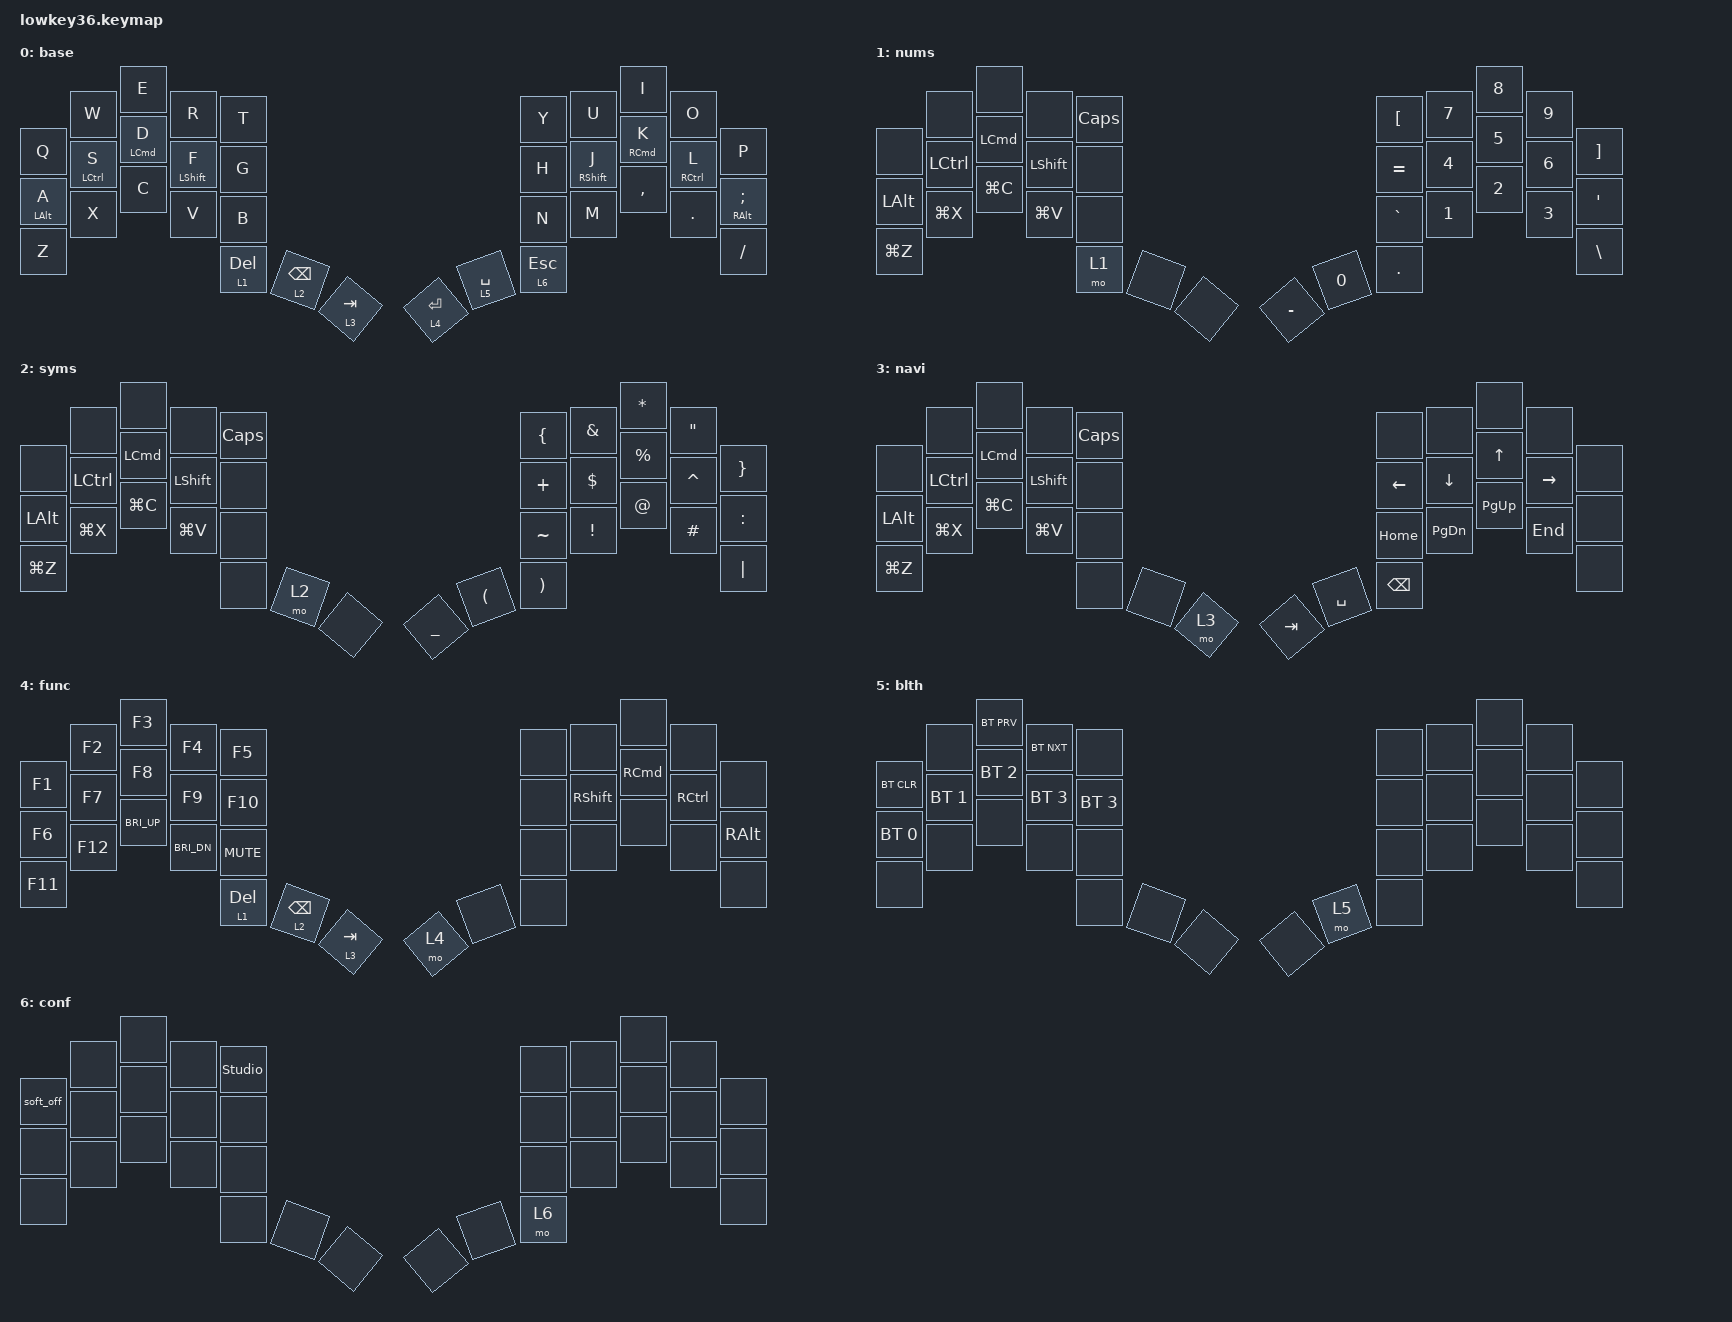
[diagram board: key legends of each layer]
/* Copyright (c) 2024 Matt Gilbert
 *
 * SPDX-License-Identifier: MIT
 */

#include <behaviors.dtsi>
#include <dt-bindings/zmk/keys.h>
#include <dt-bindings/zmk/bt.h>

// Using layer taps on thumbs, having quick tap as well helps w/ repeating space/backspace
&lt { quick-tap-ms = <200>; };

// Only turn off if the key is held for 2 seconds or longer
&soft_off { hold-time-ms = <2000>; };

// ---------------------                    ---------------------
// | Q | W | E | R | T |                    | Y | U | I | O | P |
// | A | S | D | F | G |                    | H | J | K | L | ; | <-- home row
// | Z | X | C | V | B |--------    --------| N | M | , | . | / |
// ----------------| 1 | 2 | 3 |    | 4 | 5 | 6 |---------------- <-- thumbs

/ {
    keymap {
        compatible = "zmk,keymap";

        default_layer { // Layer 0
            display-name = "base";
            bindings = <
                &kp Q      &kp W       &kp E      &kp R       &kp T                                                   &kp Y &kp U       &kp I      &kp O       &kp P
                &mt LALT A &mt LCTRL S &mt LCMD D &mt LSHFT F &kp G                                                   &kp H &mt RSHFT J &mt RCMD K &mt RCTRL L &mt RALT SEMI
                &kp Z      &kp X       &kp C      &kp V       &kp B                                                   &kp N &kp M       &kp COMMA  &kp DOT     &kp FSLH
                                                              &lt 1 DEL &lt 2 BSPC &lt 3 TAB    &lt 4 RET &lt 5 SPACE &lt 6 ESC
            >;
        };

        number_layer { // Layer 1
            display-name = "nums";
            bindings = <
                &none     &none     &none     &none     &kp CAPS                              &kp LBKT  &kp N7 &kp N8 &kp N9 &kp RBKT
                &kp LALT  &kp LCTRL &kp LCMD  &kp LSHFT &none                                 &kp EQUAL &kp N4 &kp N5 &kp N6 &kp SQT
                &kp LG(Z) &kp LG(X) &kp LG(C) &kp LG(V) &none                                 &kp GRAVE &kp N1 &kp N2 &kp N3 &kp BSLH
                                                        &mo 1 &none &none    &kp MINUS &kp N0 &kp DOT
            >;
        };

        symbol_layer { // Layer 2
            display-name = "syms";
            bindings = <
                &none     &none     &none     &none     &kp CAPS                                &kp LBRC  &kp AMPS &kp STAR  &kp DQT   &kp RBRC
                &kp LALT  &kp LCTRL &kp LCMD  &kp LSHFT &none                                   &kp PLUS  &kp DLLR &kp PRCNT &kp CARET &kp COLON
                &kp LG(Z) &kp LG(X) &kp LG(C) &kp LG(V) &none                                   &kp TILDE &kp EXCL &kp AT    &kp HASH  &kp PIPE
                                                        &none &mo 2 &none    &kp UNDER &kp LPAR &kp RPAR
            >;
        };

        navigation_layer { // Layer 3
            display-name = "navi";
            bindings = <
                &none     &none     &none     &none     &kp CAPS                               &none    &none     &none     &none     &none
                &kp LALT  &kp LCTRL &kp LCMD  &kp LSHFT &none                                  &kp LEFT &kp DOWN  &kp UP    &kp RIGHT &none
                &kp LG(Z) &kp LG(X) &kp LG(C) &kp LG(V) &none                                  &kp HOME &kp PG_DN &kp PG_UP &kp END   &none
                                                        &none &none &mo 3    &kp TAB &kp SPACE &kp BSPC
            >;
        };

        fkeys_layer { // Layer 4
            display-name = "func";
            bindings = <
                &kp F1  &kp F2  &kp F3       &kp F4       &kp F5                                        &none &none     &none    &none     &none
                &kp F6  &kp F7  &kp F8       &kp F9       &kp F10                                       &none &kp RSHFT &kp RCMD &kp RCTRL &kp RALT
                &kp F11 &kp F12 &kp C_BRI_UP &kp C_BRI_DN &kp C_MUTE                                    &none &none     &none    &none     &none
                                                          &lt 1 DEL &lt 2 BSPC &lt 3 TAB    &mo 4 &none &none
            >;
        };

        bluetooth_layer { // Layer 5
            display-name = "blth";
            bindings = <
                &bt BT_CLR &none          &bt BT_PRV   &bt BT_NXT   &none                            &none &none &none &none &none
                &bt BT_SEL 0 &bt BT_SEL 1 &bt BT_SEL 2 &bt BT_SEL 3 &bt BT_SEL 3                     &none &none &none &none &none
                &none      &none          &none        &none        &none                            &none &none &none &none &none
                                                                    &none &none &none    &none &mo 5 &none
            >;
        };

        config_layer { // Layer 6
            display-name = "conf";
            bindings = <
                &soft_off &none &none &none &studio_unlock                   &none &none &none &none &none
                &none     &none &none &none &none                            &none &none &none &none &none
                &none     &none &none &none &none                            &none &none &none &none &none
                                            &none &none &none    &none &none &mo 6
            >;
        };
    };
 };
